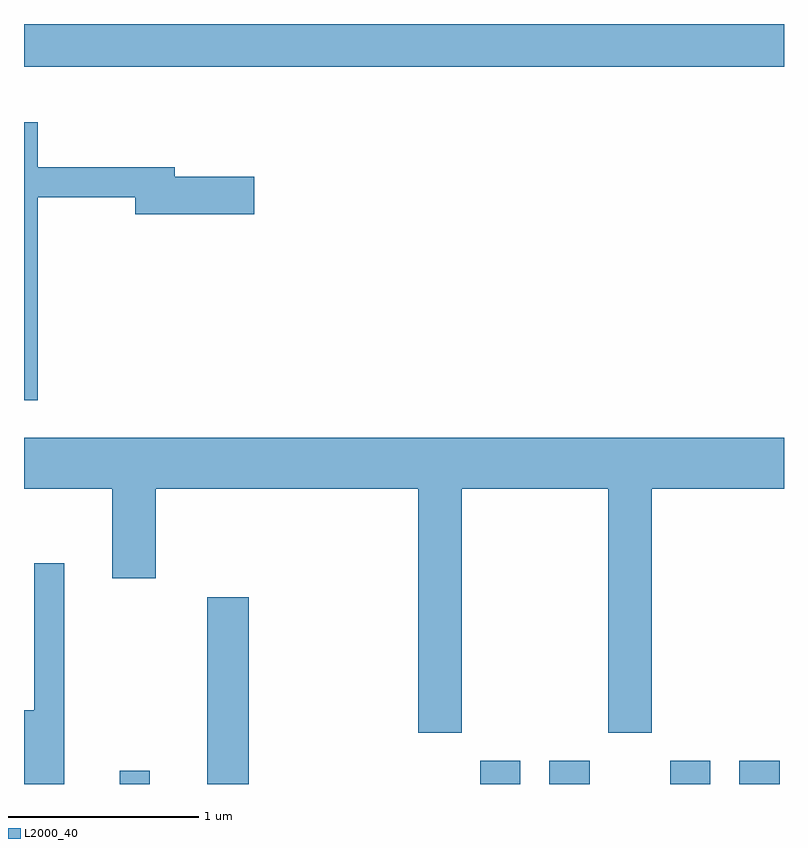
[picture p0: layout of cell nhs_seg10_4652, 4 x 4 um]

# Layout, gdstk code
import gdstk
lib = gdstk.Library(unit=1e-6, precision=1e-09)
def R(c, l, rs):  # rectangles x0, y0, x1, y1
    for r in rs: c.add(gdstk.rectangle(r[:2], r[2:], *l))
def P(c, l, *ps):  # polygons
    for p in ps: c.add(gdstk.Polygon(p, *l))
L2000_40 = (2000, 40)

nhs_seg10_4652 = lib.new_cell('nhs_seg10_4652')
R(nhs_seg10_4652, L2000_40, [(322.116,2174.522,322.274,2174.593), (322.576,2174.522,322.794,2175.504), (324.011,2174.522,324.224,2174.644), (324.376,2174.522,324.589,2174.644), (325.011,2174.522,325.224,2174.644), (325.376,2174.522,325.589,2174.644), (321.611,2178.296,325.611,2178.522)])
P(nhs_seg10_4652, L2000_40, [(321.684,2177.611),(322.196,2177.611),(322.196,2177.521),(322.824,2177.521),(322.824,2177.719),(322.404,2177.719),(322.404,2177.769),(321.684,2177.769),(321.684,2178.004),(321.611,2178.004),(321.611,2176.541),(321.684,2176.541)],
  [(323.914,2176.076),(324.686,2176.076),(324.686,2174.791),(324.914,2174.791),(324.914,2176.076),(325.611,2176.076),(325.611,2176.344),(321.611,2176.344),(321.611,2176.076),(322.076,2176.076),(322.076,2175.606),(322.304,2175.606),(322.304,2176.076),(323.686,2176.076),(323.686,2174.791),(323.914,2174.791)],
  [(321.824,2175.683),(321.666,2175.683),(321.666,2174.909),(321.611,2174.909),(321.611,2174.522),(321.824,2174.522)])

lib.write_gds('nhs_seg10_4652.gds')
